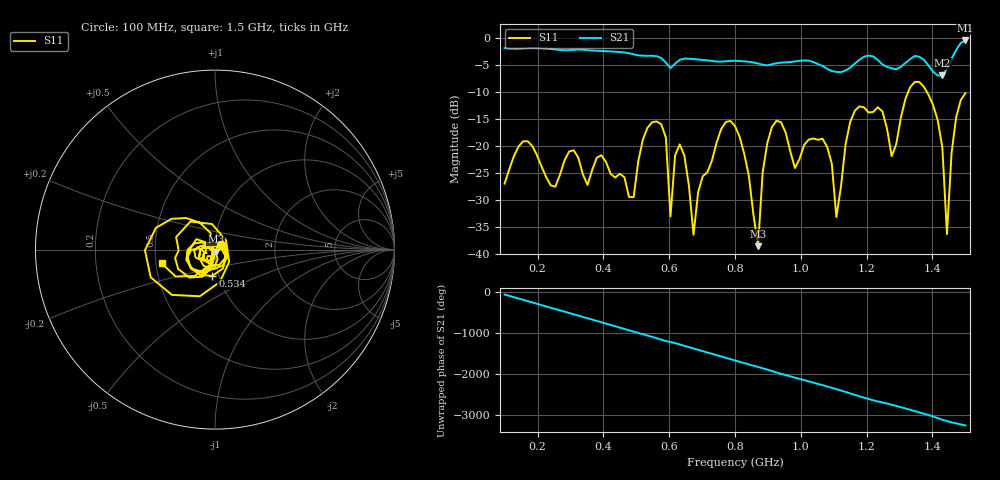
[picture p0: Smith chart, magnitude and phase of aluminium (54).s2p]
! NanoVNA-App
! Date: 2025-09-26 09:58:29
! Start: 100MHz Stop: 1,5GHz Points: 101
! S-Parameter data: F S11 S21 S12 S22
# Hz S RI R 50
!  Frequency  S11_Real  S11_Imag  S21_Real  S21_Imag  S12_Real  S12_Imag  S22_Real  S22_Imag
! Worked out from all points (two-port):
!   101 points, 100 MHz to 1.5 GHz, reference 50 ohm
!   highest |S21| = -0.50 dB at 1.5 GHz (marker M1); lowest = -7.0 dB at 1.43 GHz (marker M2)
!   |S21| within 3 dB of the highest: start of sweep to 565.5 MHz; 1.461 GHz to end of sweep (the widest 2 of 4)
!   lowest |S11| = -38.6 dB at 870 MHz (marker M3), VSWR 1.02, Z = 50.4 - j1.11 ohm
!   |S11| at or under -10 dB: start of sweep to 1.326 GHz; 1.383 GHz to end of sweep
!   S12 and S22 are empty: the file has one direction only
!   S11 on the Smith chart (normalised r, x): 100 MHz: 1.07, +0.06; 534 MHz: 0.93, -0.28; 1.5 GHz: 0.54, -0.09
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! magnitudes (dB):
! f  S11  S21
! 100 MHz  -27.0  -1.9
! 156 MHz  -19.2  -2.0
! 338 MHz  -25.3  -2.2
! 492 MHz  -29.5  -3.1
! 534 MHz  -16.7  -3.3
! 576 MHz  -16.0  -3.7
! 604 MHz  -33.1  -5.6
! 632 MHz  -19.7  -4.1
! 674 MHz  -36.4  -3.9
! 800 MHz  -16.3  -4.3
! 870 MHz  -38.6  -4.8
! 912 MHz  -16.5  -4.9
! 1.038 GHz  -18.6  -4.5
! 1.08 GHz  -20.2  -5.8
! 1.108 GHz  -33.2  -6.3
! 1.164 GHz  -13.5  -4.8
! 1.276 GHz  -21.9  -5.7
! 1.346 GHz  -8.2  -3.4
! 1.43 GHz  -20.3  -7.0
! 1.444 GHz  -36.3  -5.7
! 1.472 GHz  -14.7  -2.3
! 1.5 GHz  -10.3  -0.5
